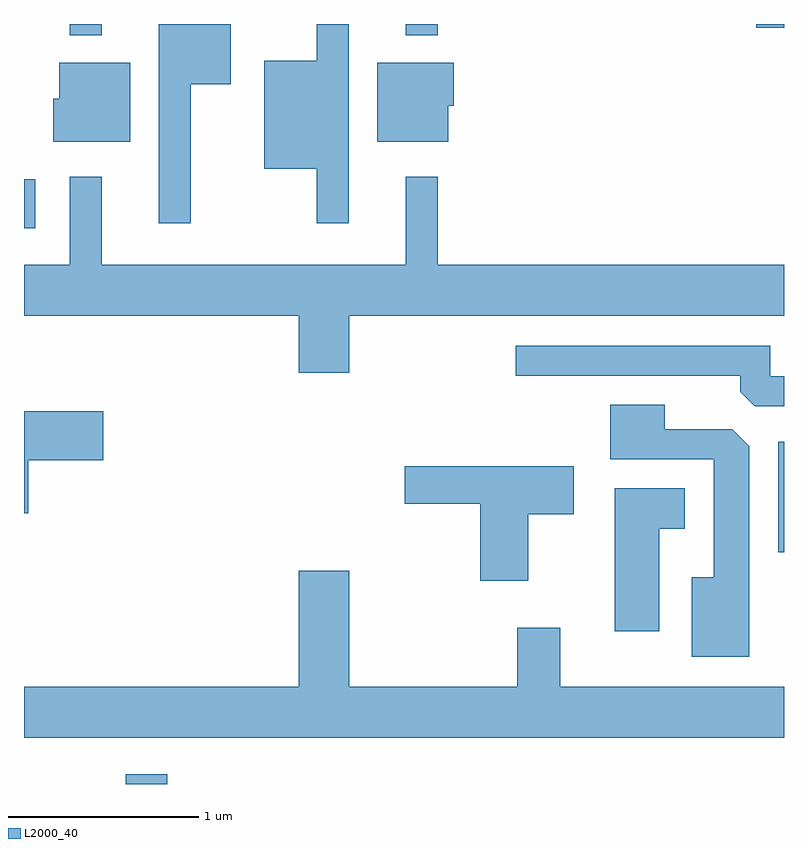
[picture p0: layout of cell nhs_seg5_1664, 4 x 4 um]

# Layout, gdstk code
import gdstk
lib = gdstk.Library(unit=1e-6, precision=1e-09)
def R(c, l, rs):  # rectangles x0, y0, x1, y1
    for r in rs: c.add(gdstk.rectangle(r[:2], r[2:], *l))
def P(c, l, *ps):  # polygons
    for p in ps: c.add(gdstk.Polygon(p, *l))
L2000_40 = (2000, 40)

nhs_seg5_1664 = lib.new_cell('nhs_seg5_1664')
R(nhs_seg5_1664, L2000_40, [(234.146,1492.072,234.364,1492.124), (237.581,1493.291,237.611,1493.874), (233.611,1494.996,233.669,1495.254), (233.851,1496.013,234.019,1496.072), (235.621,1496.013,235.789,1496.072), (237.466,1496.051,237.611,1496.072)])
P(nhs_seg5_1664, L2000_40, [(235.319,1496.072),(235.151,1496.072),(235.151,1495.879),(234.876,1495.879),(234.876,1495.311),(235.151,1495.311),(235.151,1495.023),(235.319,1495.023)],
  [(234.489,1495.756),(234.699,1495.756),(234.699,1496.072),(234.321,1496.072),(234.321,1495.023),(234.489,1495.023)],
  [(234.169,1495.869),(233.796,1495.869),(233.796,1495.679),(233.766,1495.679),(233.766,1495.451),(234.169,1495.451)],
  [(235.844,1495.641),(235.874,1495.641),(235.874,1495.869),(235.471,1495.869),(235.471,1495.451),(235.844,1495.451)],
  [(235.324,1494.536),(237.611,1494.536),(237.611,1494.804),(235.789,1494.804),(235.789,1495.268),(235.621,1495.268),(235.621,1494.804),(234.019,1494.804),(234.019,1495.268),(233.851,1495.268),(233.851,1494.804),(233.611,1494.804),(233.611,1494.536),(235.056,1494.536),(235.056,1494.236),(235.324,1494.236)],
  [(237.611,1494.219),(237.539,1494.219),(237.539,1494.379),(236.198,1494.379),(236.198,1494.221),(237.381,1494.221),(237.381,1494.137),(237.457,1494.061),(237.611,1494.061)],
  [(237.429,1493.849),(237.339,1493.939),(236.984,1493.939),(236.984,1494.069),(236.696,1494.069),(236.696,1493.781),(237.241,1493.781),(237.241,1493.159),(237.126,1493.159),(237.126,1492.741),(237.429,1492.741)],
  [(233.634,1493.776),(234.029,1493.776),(234.029,1494.034),(233.611,1494.034),(233.611,1493.496),(233.634,1493.496)],
  [(236.264,1493.491),(236.504,1493.491),(236.504,1493.744),(235.616,1493.744),(235.616,1493.546),(236.011,1493.546),(236.011,1493.141),(236.264,1493.141)],
  [(236.954,1493.416),(237.089,1493.416),(237.089,1493.629),(236.721,1493.629),(236.721,1492.876),(236.954,1492.876)],
  [(237.611,1492.584),(236.434,1492.584),(236.434,1492.894),(236.206,1492.894),(236.206,1492.584),(235.324,1492.584),(235.324,1493.194),(235.056,1493.194),(235.056,1492.584),(233.611,1492.584),(233.611,1492.316),(237.611,1492.316)])

lib.write_gds('nhs_seg5_1664.gds')
